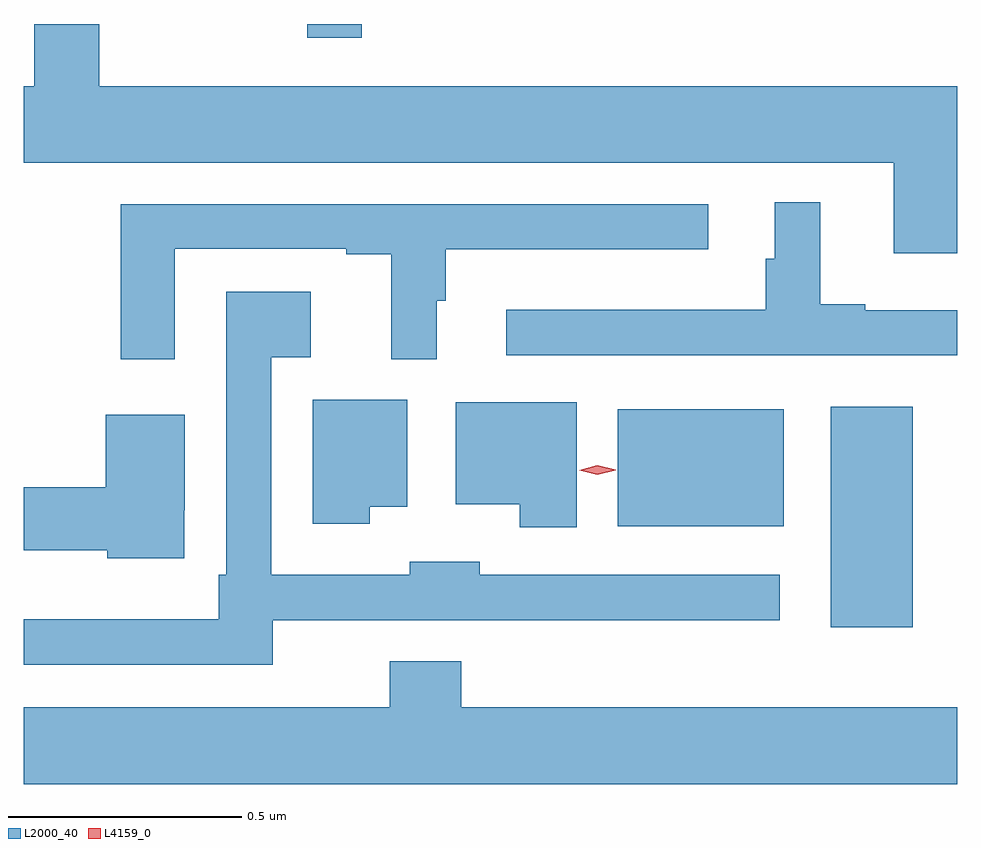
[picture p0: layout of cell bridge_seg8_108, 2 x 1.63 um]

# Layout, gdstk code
import gdstk
lib = gdstk.Library(unit=1e-6, precision=1e-09)
def R(c, l, rs):  # rectangles x0, y0, x1, y1
    for r in rs: c.add(gdstk.rectangle(r[:2], r[2:], *l))
def P(c, l, *ps):  # polygons
    for p in ps: c.add(gdstk.Polygon(p, *l))
L2000_40 = (2000, 40)
L4159_0 = (4159, 0)

bridge_seg8_108 = lib.new_cell('bridge_seg8_108')
R(bridge_seg8_108, L2000_40, [(853.784,1128.824,853.96,1129.297), (853.328,1129.04,853.684,1129.291), (852.662,1130.088,852.779,1130.117)])
P(bridge_seg8_108, L2000_40, [(854.055,1129.984),(852.216,1129.984),(852.216,1130.117),(852.077,1130.117),(852.077,1129.984),(852.055,1129.984),(852.055,1129.82),(853.919,1129.82),(853.919,1129.626),(854.055,1129.626)],
  [(854.055,1129.503),(853.858,1129.503),(853.858,1129.516),(853.762,1129.516),(853.762,1129.735),(853.664,1129.735),(853.664,1129.614),(853.645,1129.614),(853.645,1129.504),(853.089,1129.504),(853.089,1129.407),(854.055,1129.407)],
  [(852.378,1129.635),(852.746,1129.635),(852.746,1129.623),(852.842,1129.623),(852.842,1129.398),(852.94,1129.398),(852.94,1129.524),(852.959,1129.524),(852.959,1129.634),(853.522,1129.634),(853.522,1129.731),(852.262,1129.731),(852.262,1129.398),(852.378,1129.398)],
  [(852.588,1128.839),(853.675,1128.839),(853.675,1128.936),(853.032,1128.936),(853.032,1128.964),(852.882,1128.964),(852.882,1128.936),(852.585,1128.936),(852.585,1129.403),(852.67,1129.403),(852.67,1129.543),(852.489,1129.543),(852.489,1128.937),(852.473,1128.937),(852.473,1128.841),(852.055,1128.841),(852.055,1128.744),(852.588,1128.744)],
  [(852.796,1129.082),(852.877,1129.082),(852.877,1129.312),(852.674,1129.312),(852.674,1129.046),(852.796,1129.046)],
  [(853.24,1129.306),(852.98,1129.306),(852.98,1129.088),(853.118,1129.088),(853.118,1129.038),(853.24,1129.038)],
  [(852.399,1129.075),(852.4,1129.075),(852.4,1129.279),(852.23,1129.279),(852.23,1129.124),(852.055,1129.124),(852.055,1128.989),(852.234,1128.989),(852.234,1128.972),(852.399,1128.972)],
  [(854.055,1128.652),(852.992,1128.652),(852.992,1128.751),(852.839,1128.751),(852.839,1128.652),(852.055,1128.652),(852.055,1128.488),(854.055,1128.488)])
P(bridge_seg8_108, L4159_0, [(853.284,1129.151),(853.245,1129.161),(853.245,1129.161),(853.245,1129.161),(853.284,1129.171),(853.323,1129.162),(853.323,1129.162),(853.323,1129.161)])

lib.write_gds('bridge_seg8_108.gds')
